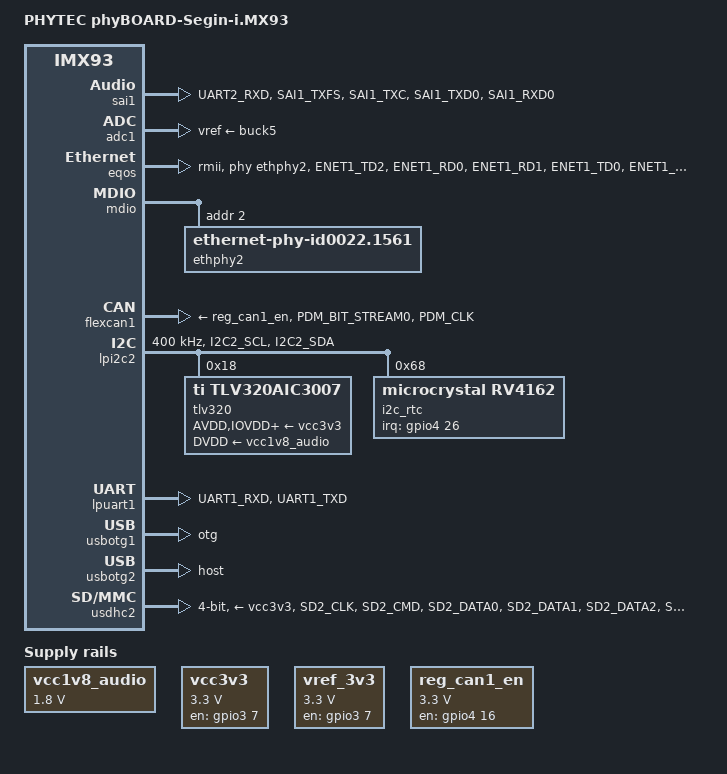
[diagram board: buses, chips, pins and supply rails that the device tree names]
// SPDX-License-Identifier: (GPL-2.0+ OR MIT)
/*
 * Copyright (C) 2023 PHYTEC Messtechnik GmbH
 * Author: Wadim Egorov <w.egorov@phytec.de>, Christoph Stoidner <c.stoidner@phytec.de>
 *
 * Product homepage:
 * phyBOARD-Segin carrier board is reused for the i.MX93 design.
 * https://www.phytec.de/produkte/single-board-computer/phyboard-segin-imx6ul/
 */

/dts-v1/;

#include <dt-bindings/usb/pd.h>
#include "imx93-phycore-som.dtsi"

/ {
	model = "PHYTEC phyBOARD-Segin-i.MX93";
	compatible = "phytec,imx93-phyboard-segin",
		     "phytec,imx93-phycore-som", "fsl,imx93";

	chosen {
		stdout-path = &lpuart1;
	};

	vcc1v8_audio: regulator-vcc1v8-audio {
		compatible = "regulator-fixed";
		pinctrl-names = "default";
		regulator-name = "VCC1V8_AUDIO";
		regulator-min-microvolt = <1800000>;
		regulator-max-microvolt = <1800000>;
	};

	vcc3v3: regulator-vcc3v3 {
		compatible = "regulator-fixed";
		pinctrl-names = "default";
		pinctrl-0 = <&pinctrl_usdhc2_vcc3v3>;
		regulator-name = "VCC3V3";
		regulator-min-microvolt = <3300000>;
		regulator-max-microvolt = <3300000>;
		gpio = <&gpio3 7 GPIO_ACTIVE_HIGH>;
		enable-active-high;
	};

	vref_3v3: regulator-vref-3v3 {
		compatible = "regulator-fixed";
		pinctrl-names = "default";
		pinctrl-0 = <&pinctrl_usdhc2_vcc3v3>;
		regulator-name = "VREF_3V3";
		regulator-min-microvolt = <3300000>;
		regulator-max-microvolt = <3300000>;
		gpio = <&gpio3 7 GPIO_ACTIVE_HIGH>;
		enable-active-high;
	};

	/* M-R-SN65HVD234.A0 */
	reg_can1_en: regulator-can1 {
		compatible = "regulator-fixed";
		pinctrl-names = "default";
		pinctrl-0 = <&pinctrl_flexcan1_en>;
		regulator-name = "CAN1";
		regulator-min-microvolt = <3300000>;
		regulator-max-microvolt = <3300000>;
		gpio = <&gpio4 16 GPIO_ACTIVE_HIGH>;
		enable-active-high;
	};

	sound: sound {
		compatible = "simple-audio-card";
		simple-audio-card,name = "phyBOARD-Segin-TLV320AIC3007";
		simple-audio-card,format = "i2s";
		simple-audio-card,bitclock-master = <&dailink_master>;
		simple-audio-card,frame-master = <&dailink_master>;
		simple-audio-card,widgets =
			"Line", "Line In",
			"Line", "Line Out",
			"Speaker", "Speaker";
		simple-audio-card,routing =
			"Line Out", "LLOUT",
			"Line Out", "RLOUT",
			"Speaker", "SPOP",
			"Speaker", "SPOM",
			"LINE1L", "Line In",
			"LINE1R", "Line In";

		simple-audio-card,cpu {
			sound-dai = <&sai1>;
		};

		dailink_master: simple-audio-card,codec {
			sound-dai = <&tlv320>;
			clocks = <&clk IMX93_CLK_SAI1>;
		};
	};
};

/* Audio */
&sai1 {
	pinctrl-names = "default";
	pinctrl-0 = <&pinctrl_sai1>;
	clocks = <&clk IMX93_CLK_SAI1_IPG>, <&clk IMX93_CLK_DUMMY>,
		<&clk IMX93_CLK_SAI1_GATE>,
		<&clk IMX93_CLK_DUMMY>, <&clk IMX93_CLK_DUMMY>,
		<&clk IMX93_CLK_AUDIO_PLL>;
	clock-names = "bus", "mclk0", "mclk1", "mclk2", "mclk3", "pll8k";
	assigned-clocks = <&clk IMX93_CLK_SAI1>;
	assigned-clock-parents = <&clk IMX93_CLK_AUDIO_PLL>;
	assigned-clock-rates = <19200000>;
	fsl,sai-mclk-direction-output;
	#sound-dai-cells = <0>;
	status = "okay";
};

/* ADC */
&adc1 {
	/* 1.8V */
	vref-supply = <&buck5>;
	status = "okay";
};

/* Ethernet */
&eqos {
	pinctrl-names = "default";
	pinctrl-0 = <&pinctrl_eqos>;
	phy-mode = "rmii";
	phy-handle = <&ethphy2>;
	assigned-clocks = <&clk IMX93_CLK_ENET_TIMER2>,
			  <&clk IMX93_CLK_ENET>;
	assigned-clock-parents = <&clk IMX93_CLK_SYS_PLL_PFD1_DIV2>,
				 <&clk IMX93_CLK_SYS_PLL_PFD1_DIV2>;
	assigned-clock-rates = <100000000>, <50000000>;
	status = "okay";
};

/* ENET2 MDIO */
&mdio {
	ethphy2: ethernet-phy@2 {
		reg = <2>;
		micrel,led-mode = <1>;
		compatible = "ethernet-phy-id0022.1561";

		/*
		 * HACK:
		 * IMX93_CLK_ENET is the ref clock and should be running at 50Mhz.
		 * Using it here to tell the PHY we are running at 50MHz is not working.
		 * Let us simply use another clock here.
		 */
		/* clocks = <&clk IMX93_CLK_ENET>; */
		clocks = <&clk IMX93_CLK_ENET_REF_PHY>;
		clock-names = "rmii-ref";
	};
};

/* CAN */
&flexcan1 {
	pinctrl-names = "default";
	pinctrl-0 = <&pinctrl_flexcan1>;
	xceiver-supply = <&reg_can1_en>;
	status = "okay";
};

&lpi2c2 {
	clock-frequency = <400000>;
	pinctrl-names = "default";
	pinctrl-0 = <&pinctrl_lpi2c2>;
	#address-cells = <1>;
	#size-cells = <0>;
	status = "okay";

	tlv320: audio-codec@18 {
		compatible = "ti,tlv320aic3007";
		reg = <0x18>;
		AVDD-supply = <&vcc3v3>;
		IOVDD-supply = <&vcc3v3>;
		DRVDD-supply = <&vcc3v3>;
		DVDD-supply = <&vcc1v8_audio>;
		#sound-dai-cells = <0>;
	};

	i2c_rtc: rtc@68 {
		compatible = "microcrystal,rv4162";
		reg = <0x68>;
		pinctrl-names = "default";
		pinctrl-0 = <&pinctrl_rtc>;
		interrupt-parent = <&gpio4>;
		interrupts = <26 IRQ_TYPE_LEVEL_LOW>;
	};
};

/* Console */
&lpuart1 {
	pinctrl-names = "default";
	pinctrl-0 = <&pinctrl_uart1>;
	status = "okay";
};

/* USB  */
&usbotg1 {
	dr_mode = "otg";
	status = "okay";
};

&usbotg2 {
	disable-over-current;
	dr_mode = "host";
	status = "okay";
};

/* SD-Card */
&usdhc2 {
	pinctrl-names = "default", "state_100mhz", "state_200mhz";
	/*
	 * Need to set those pinctrl states, although all pinctrls are
	 * the same. That is needed to tell driver to enable those
	 * different UHS modes.
	 */
	pinctrl-0 = <&pinctrl_usdhc2_default>, <&pinctrl_usdhc2_cd>;
	pinctrl-1 = <&pinctrl_usdhc2_100mhz>, <&pinctrl_usdhc2_cd>;
	pinctrl-2 = <&pinctrl_usdhc2_200mhz>, <&pinctrl_usdhc2_cd>;
	cd-gpios = <&gpio3 00 GPIO_ACTIVE_LOW>;
	vmmc-supply = <&vcc3v3>;
	bus-width = <4>;
	no-sdio;
	no-mmc;
	status = "okay";
};

&iomuxc {
	pinctrl_sai1: sai1grp {
		fsl,pins = <
			MX93_PAD_UART2_RXD__SAI1_MCLK				0x1202
			MX93_PAD_SAI1_TXFS__SAI1_TX_SYNC			0x1202
			MX93_PAD_SAI1_TXC__SAI1_TX_BCLK				0x1202
			MX93_PAD_SAI1_TXD0__SAI1_TX_DATA00			0x1402
			MX93_PAD_SAI1_RXD0__SAI1_RX_DATA00			0x1402
		>;
	};

	pinctrl_eqos: eqosgrp {
		fsl,pins = <
			MX93_PAD_ENET1_TD2__CCM_ENET_QOS_CLOCK_GENERATE_REF_CLK 0x4000050e
			MX93_PAD_ENET1_RD0__ENET_QOS_RGMII_RD0			0x57e
			MX93_PAD_ENET1_RD1__ENET_QOS_RGMII_RD1			0x57e
			MX93_PAD_ENET1_TD0__ENET_QOS_RGMII_TD0			0x50e
			MX93_PAD_ENET1_TD1__ENET_QOS_RGMII_TD1			0x50e
			MX93_PAD_ENET1_RX_CTL__ENET_QOS_RGMII_RX_CTL		0x57e
			MX93_PAD_ENET1_TX_CTL__ENET_QOS_RGMII_TX_CTL		0x50e
			MX93_PAD_ENET1_RXC__ENET_QOS_RX_ER			0x57e
		>;
	};

	pinctrl_lpi2c2: lpi2c2grp {
		fsl,pins = <
			MX93_PAD_I2C2_SCL__LPI2C2_SCL			0x40000b9e
			MX93_PAD_I2C2_SDA__LPI2C2_SDA			0x40000b9e
		>;
	};

	pinctrl_uart1: uart1grp {
		fsl,pins = <
			MX93_PAD_UART1_RXD__LPUART1_RX			0x31e
			MX93_PAD_UART1_TXD__LPUART1_TX			0x30e
		>;
	};

	pinctrl_usdhc2_vcc3v3: usdhc2vcc3v3grp {
		fsl,pins = <
			MX93_PAD_SD2_RESET_B__GPIO3_IO07	0x31e
		>;
	};

	pinctrl_usdhc2_cd: usdhc2cdgrp {
		fsl,pins = <
			MX93_PAD_SD2_CD_B__GPIO3_IO00		0x31e
		>;
	};

	pinctrl_usdhc2_default: usdhc2grp {
		fsl,pins = <
			MX93_PAD_SD2_CLK__USDHC2_CLK		0x179e
			MX93_PAD_SD2_CMD__USDHC2_CMD		0x139e
			MX93_PAD_SD2_DATA0__USDHC2_DATA0	0x138e
			MX93_PAD_SD2_DATA1__USDHC2_DATA1	0x138e
			MX93_PAD_SD2_DATA2__USDHC2_DATA2	0x138e
			MX93_PAD_SD2_DATA3__USDHC2_DATA3	0x139e
			MX93_PAD_SD2_VSELECT__USDHC2_VSELECT	0x51e
		>;
	};

	pinctrl_usdhc2_100mhz: usdhc2grp {
                fsl,pins = <
                        MX93_PAD_SD2_CLK__USDHC2_CLK            0x179e
                        MX93_PAD_SD2_CMD__USDHC2_CMD            0x139e
                        MX93_PAD_SD2_DATA0__USDHC2_DATA0        0x138e
                        MX93_PAD_SD2_DATA1__USDHC2_DATA1        0x138e
                        MX93_PAD_SD2_DATA2__USDHC2_DATA2        0x139e
                        MX93_PAD_SD2_DATA3__USDHC2_DATA3        0x139e
                        MX93_PAD_SD2_VSELECT__USDHC2_VSELECT    0x51e
                >;
        };

	pinctrl_usdhc2_200mhz: usdhc2grp {
                fsl,pins = <
                        MX93_PAD_SD2_CLK__USDHC2_CLK            0x178e
                        MX93_PAD_SD2_CMD__USDHC2_CMD            0x139e
                        MX93_PAD_SD2_DATA0__USDHC2_DATA0        0x139e
                        MX93_PAD_SD2_DATA1__USDHC2_DATA1        0x139e
                        MX93_PAD_SD2_DATA2__USDHC2_DATA2        0x139e
                        MX93_PAD_SD2_DATA3__USDHC2_DATA3        0x139e
                        MX93_PAD_SD2_VSELECT__USDHC2_VSELECT    0x51e
                >;
        };

	pinctrl_rtc: rtcgrp {
		fsl,pins = <
			MX93_PAD_ENET2_RD2__GPIO4_IO26		0x31e
		>;
	};

	pinctrl_flexcan1: flexcan1grp {
		fsl,pins = <
			MX93_PAD_PDM_BIT_STREAM0__CAN1_RX	0x139e
			MX93_PAD_PDM_CLK__CAN1_TX		0x13e9
		>;
	};

	pinctrl_flexcan1_en: flexcan1engrp {
		fsl,pins = <
			MX93_PAD_ENET2_TD3__GPIO4_IO16		0x31e
		>;
	};
};
